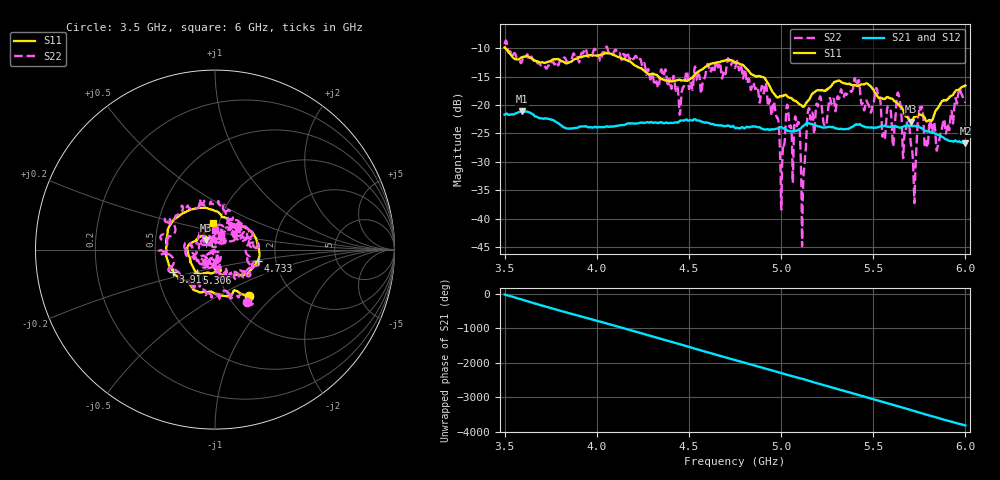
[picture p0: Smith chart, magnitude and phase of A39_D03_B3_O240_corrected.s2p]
! Created with skrf 1.9.0 (http://scikit-rf.org).
# Hz S RI R 50.0
!freq ReS11 ImS11 ReS21 ImS21 ReS12 ImS12 ReS22 ImS22
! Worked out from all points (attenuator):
!   1601 points, 3.5 GHz to 6 GHz, reference 50 ohm
!   highest |S21| = -21.11 dB at 3.592 GHz (marker M1); lowest = -26.8 dB at 6 GHz (marker M2)
!   lowest |S11| = -22.9 dB at 5.703 GHz (marker M3), VSWR 1.15, Z = 45.1 + j4.7 ohm
!   |S11| at or under -10 dB: 3.505 GHz to end of sweep
!   |S22| runs from -44.8 to -8.6 dB; largest |S21 - S12| = 0.00099
!   S11 on the Smith chart (normalised r, x): 3.5 GHz: 1.25, -0.71; 3.916 GHz: 0.61, -0.16; 4.733 GHz: 1.61, -0.22; 5.306 GHz: 0.79, -0.21; 6 GHz: 0.94, +0.28
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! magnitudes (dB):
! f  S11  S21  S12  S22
! 3.5 GHz  -9.9  -21.7  -21.7  -9.3
! 3.592 GHz  -11.6  -21.1  -21.1  -12.5
! 3.916 GHz  -11.6  -23.8  -23.8  -11.0
! 3.917 GHz  -11.6  -23.8  -23.8  -10.8
! 4.334 GHz  -15.0  -23.2  -23.1  -17.0
! 4.733 GHz  -12.1  -23.8  -23.8  -12.6
! 4.75 GHz  -12.5  -24.1  -24.0  -13.5
! 4.967 GHz  -18.3  -24.2  -24.2  -20.7
! 5.005 GHz  -18.4  -24.0  -24.0  -31.6
! 5.033 GHz  -18.4  -24.5  -24.4  -19.9
! 5.088 GHz  -19.5  -24.5  -24.5  -23.5
! 5.119 GHz  -20.2  -23.7  -23.7  -34.8
! 5.145 GHz  -19.3  -23.2  -23.2  -21.2
! 5.167 GHz  -18.1  -23.4  -23.3  -21.4
! 5.306 GHz  -15.8  -24.2  -24.1  -18.5
! 5.584 GHz  -18.7  -23.8  -23.8  -20.3
! 5.638 GHz  -20.0  -23.9  -23.9  -18.1
! 5.703 GHz  -22.9  -23.7  -23.7  -26.5
! 5.722 GHz  -22.1  -23.7  -23.6  -36.3
! 5.756 GHz  -21.7  -24.0  -23.9  -20.8
! 5.852 GHz  -20.5  -25.3  -25.2  -27.0
! 6 GHz  -16.6  -26.8  -26.7  -19.4
